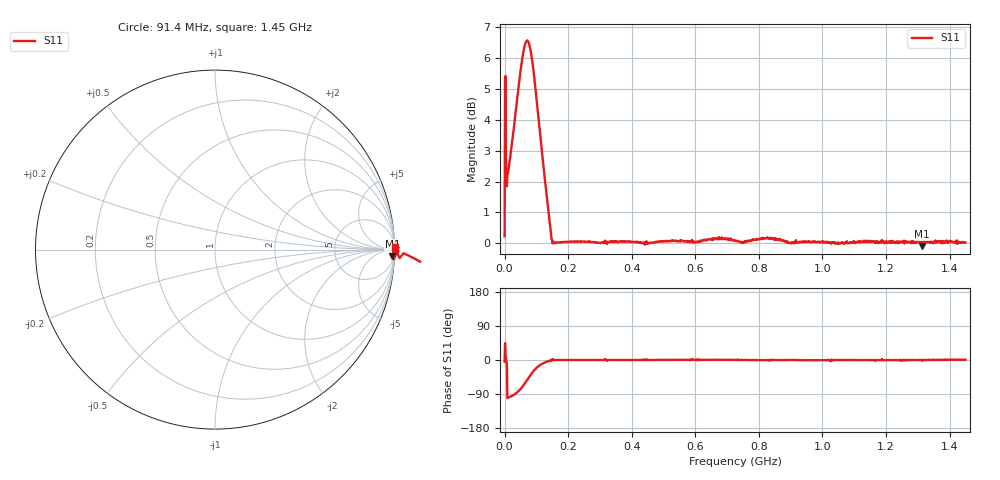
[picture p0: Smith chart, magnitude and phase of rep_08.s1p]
! Created with skrf 1.11.0 (http://scikit-rf.org).
# Hz S RI R 50.0
!freq ReS11 ImS11
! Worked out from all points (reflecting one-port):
!   1001 points, 50 kHz to 1.45 GHz, reference 50 ohm
!   lowest |S11| = -0.1 dB at 1.314 GHz (marker M1), VSWR 181.04, Z = 693 - j2.41e+03 ohm
!   phase of S11 starts at -4 deg and turns +5 deg over the sweep
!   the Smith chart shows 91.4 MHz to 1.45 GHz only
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50000  1.023 -0.0773
8749700  -0.2358 -1.268
1.019965e7  -0.2249 -1.278
1.16496e7  -0.2144 -1.294
1.599945e7  -0.1853 -1.346
2.759905e7  -0.07 -1.514
3.77487e7  0.1018 -1.679
4.64484e7  0.3237 -1.808
5.659805e7  0.6879 -1.889
6.529775e7  1.06 -1.823
6.96476e7  1.243 -1.731
7.54474e7  1.449 -1.546
8.269715e7  1.61 -1.258
8.99469e7  1.663 -0.9637
9.86466e7  1.623 -0.6616
1.058964e8  1.543 -0.4687
1.14596e8  1.425 -0.2951
1.247457e8  1.287 -0.161
1.493948e8  1.013 0.032
1.812938e8  1.004 -0.00198
3.625375e8  1.006 -0.000642
5.437812e8  1.008 0.00679
7.25025e8  1.009 0.00284
9.062688e8  1.001 -0.00217
1.087512e9  1.003 -0.00158
1.268756e9  1.003 -0.0132
1.313705e9  0.9883 -0.0379
1.45e9  1.003 0.0127
